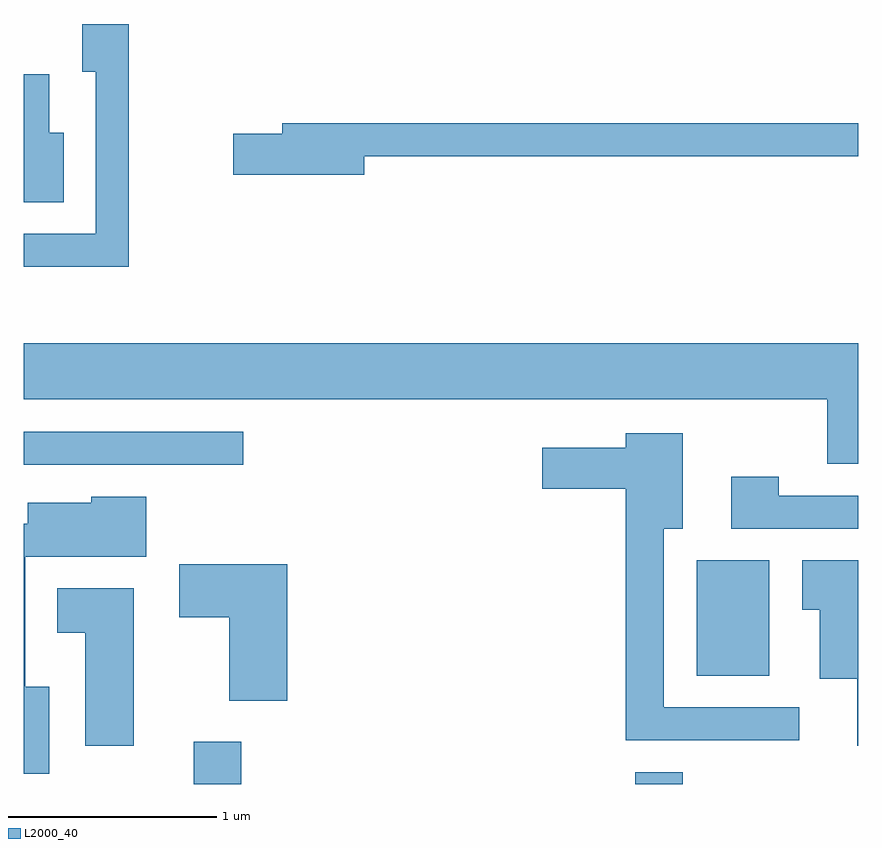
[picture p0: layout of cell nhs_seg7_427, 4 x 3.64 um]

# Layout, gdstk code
import gdstk
lib = gdstk.Library(unit=1e-6, precision=1e-09)
def R(c, l, rs):  # rectangles x0, y0, x1, y1
    for r in rs: c.add(gdstk.rectangle(r[:2], r[2:], *l))
def P(c, l, *ps):  # polygons
    for p in ps: c.add(gdstk.Polygon(p, *l))
L2000_40 = (2000, 40)

nhs_seg7_427 = lib.new_cell('nhs_seg7_427')
R(nhs_seg7_427, L2000_40, [(198.426,1710.252,198.654,1710.454), (200.541,1710.252,200.769,1710.309), (200.836,1710.771,201.184,1711.324), (197.611,1711.781,198.663,1711.939)])
P(nhs_seg7_427, L2000_40, [(198.114,1713.894),(197.891,1713.894),(197.891,1713.666),(197.956,1713.666),(197.956,1712.889),(197.611,1712.889),(197.611,1712.731),(198.114,1712.731)],
  [(197.804,1713.374),(197.734,1713.374),(197.734,1713.654),(197.611,1713.654),(197.611,1713.041),(197.804,1713.041)],
  [(199.244,1713.261),(201.611,1713.261),(201.611,1713.419),(198.851,1713.419),(198.851,1713.369),(198.616,1713.369),(198.616,1713.171),(199.244,1713.171)],
  [(201.611,1712.364),(197.611,1712.364),(197.611,1712.096),(201.461,1712.096),(201.461,1711.786),(201.611,1711.786)],
  [(201.328,1710.619),(200.679,1710.619),(200.679,1711.476),(200.769,1711.476),(200.769,1711.934),(200.496,1711.934),(200.496,1711.864),(200.096,1711.864),(200.096,1711.666),(200.496,1711.666),(200.496,1710.461),(201.328,1710.461)],
  [(201.611,1711.634),(201.229,1711.634),(201.229,1711.724),(201.001,1711.724),(201.001,1711.476),(201.611,1711.476)],
  [(197.734,1710.719),(197.619,1710.719),(197.619,1711.341),(198.199,1711.341),(198.199,1711.629),(197.936,1711.629),(197.936,1711.599),(197.631,1711.599),(197.631,1711.499),(197.611,1711.499),(197.611,1710.301),(197.734,1710.301)],
  [(201.611,1711.324),(201.341,1711.324),(201.341,1711.086),(201.426,1711.086),(201.426,1710.756),(201.606,1710.756),(201.606,1710.436),(201.611,1710.436)],
  [(198.874,1711.304),(198.356,1711.304),(198.356,1711.051),(198.596,1711.051),(198.596,1710.651),(198.874,1710.651)],
  [(198.139,1711.189),(197.771,1711.189),(197.771,1710.976),(197.906,1710.976),(197.906,1710.436),(198.139,1710.436)])

lib.write_gds('nhs_seg7_427.gds')
